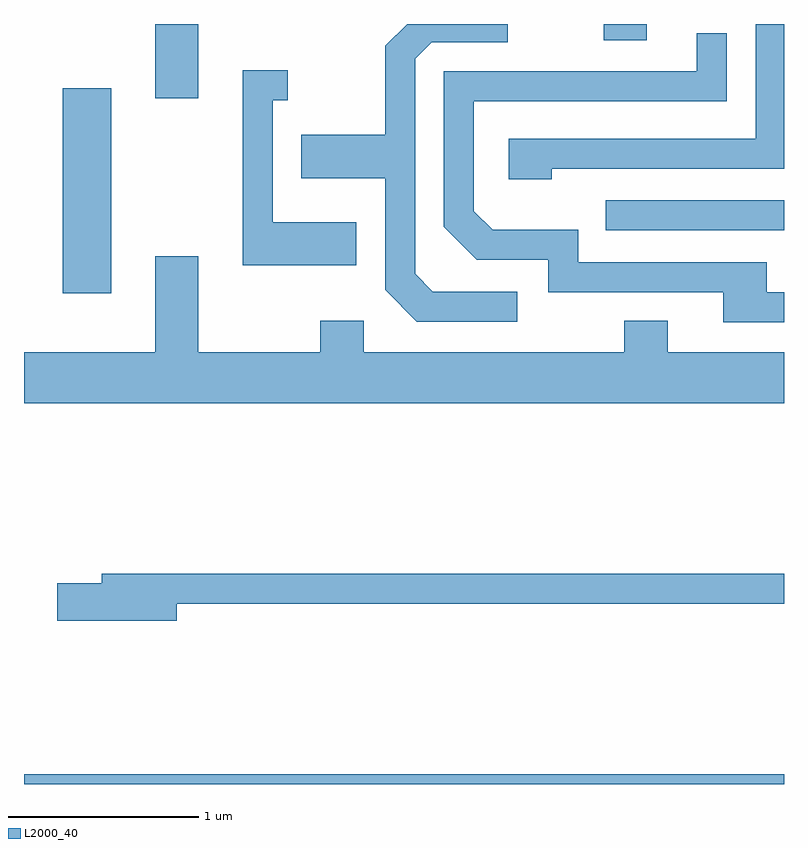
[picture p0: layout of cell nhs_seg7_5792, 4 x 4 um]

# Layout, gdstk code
import gdstk
lib = gdstk.Library(unit=1e-6, precision=1e-09)
def R(c, l, rs):  # rectangles x0, y0, x1, y1
    for r in rs: c.add(gdstk.rectangle(r[:2], r[2:], *l))
def P(c, l, *ps):  # polygons
    for p in ps: c.add(gdstk.Polygon(p, *l))
L2000_40 = (2000, 40)

nhs_seg7_5792 = lib.new_cell('nhs_seg7_5792')
R(nhs_seg7_5792, L2000_40, [(361.611,1772.252,365.611,1772.304), (361.816,1774.836,362.069,1775.914), (364.673,1775.166,365.611,1775.324), (362.301,1775.861,362.529,1776.252), (364.661,1776.166,364.889,1776.252)])
P(nhs_seg7_5792, L2000_40, [(364.208,1774.844),(363.762,1774.844),(363.669,1774.937),(363.669,1776.069),(363.757,1776.156),(364.158,1776.156),(364.158,1776.252),(363.627,1776.252),(363.511,1776.137),(363.511,1775.669),(363.071,1775.669),(363.071,1775.441),(363.511,1775.441),(363.511,1774.854),(363.679,1774.686),(364.208,1774.686)],
  [(364.389,1775.491),(365.611,1775.491),(365.611,1776.252),(365.461,1776.252),(365.461,1775.649),(364.161,1775.649),(364.161,1775.436),(364.389,1775.436)],
  [(365.611,1774.839),(365.519,1774.839),(365.519,1774.999),(364.529,1774.999),(364.529,1775.169),(364.077,1775.169),(363.979,1775.267),(363.979,1775.846),(365.309,1775.846),(365.309,1776.203),(365.151,1776.203),(365.151,1776.004),(363.821,1776.004),(363.821,1775.184),(363.994,1775.011),(364.371,1775.011),(364.371,1774.841),(365.291,1774.841),(365.291,1774.681),(365.611,1774.681)],
  [(363.359,1775.209),(362.919,1775.209),(362.919,1775.851),(362.998,1775.851),(362.998,1776.009),(362.761,1776.009),(362.761,1774.981),(363.359,1774.981)],
  [(365.611,1774.524),(364.999,1774.524),(364.999,1774.689),(364.771,1774.689),(364.771,1774.524),(363.399,1774.524),(363.399,1774.689),(363.171,1774.689),(363.171,1774.524),(362.529,1774.524),(362.529,1775.029),(362.301,1775.029),(362.301,1774.524),(361.611,1774.524),(361.611,1774.256),(365.611,1774.256)],
  [(362.414,1773.201),(365.611,1773.201),(365.611,1773.359),(362.021,1773.359),(362.021,1773.309),(361.786,1773.309),(361.786,1773.111),(362.414,1773.111)])

lib.write_gds('nhs_seg7_5792.gds')
